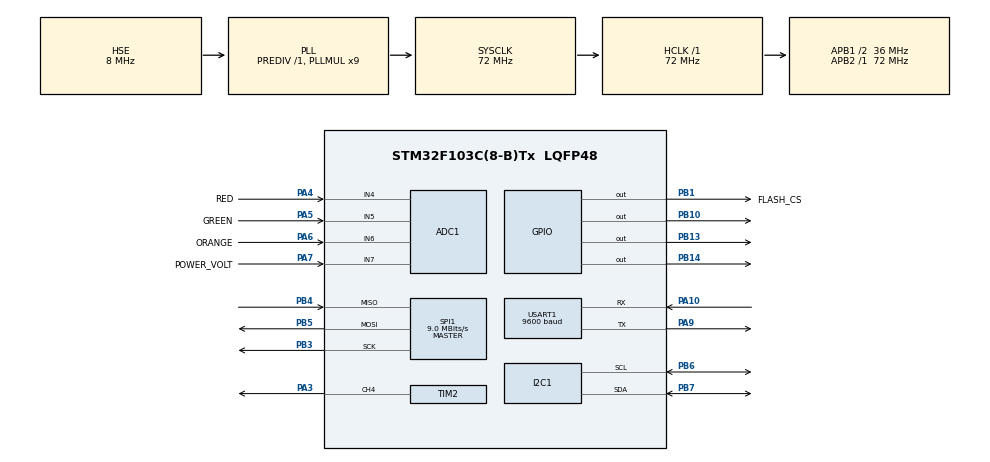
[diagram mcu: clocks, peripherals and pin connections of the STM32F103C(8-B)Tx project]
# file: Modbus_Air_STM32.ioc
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ADC1.Channel-0\#ChannelRegularConversion=ADC_CHANNEL_4
ADC1.Channel-1\#ChannelRegularConversion=ADC_CHANNEL_5
ADC1.Channel-2\#ChannelRegularConversion=ADC_CHANNEL_6
ADC1.Channel-3\#ChannelRegularConversion=ADC_CHANNEL_7
ADC1.Channel-6\#ChannelRegularConversion=ADC_CHANNEL_TEMPSENSOR
ADC1.Channel-7\#ChannelRegularConversion=ADC_CHANNEL_VREFINT
ADC1.ContinuousConvMode=ENABLE
ADC1.DataAlign=ADC_DATAALIGN_RIGHT
ADC1.DiscontinuousConvMode=DISABLE
ADC1.EnableAnalogWatchDog=false
ADC1.EnableRegularConversion=ENABLE
ADC1.ExternalTrigConv=ADC_SOFTWARE_START
ADC1.InjNumberOfConversion=0
ADC1.NbrOfConversion=6
ADC1.NbrOfConversionFlag=1
ADC1.Rank-0\#ChannelRegularConversion=1
ADC1.Rank-1\#ChannelRegularConversion=2
ADC1.Rank-2\#ChannelRegularConversion=3
ADC1.Rank-3\#ChannelRegularConversion=4
ADC1.Rank-6\#ChannelRegularConversion=5
ADC1.Rank-7\#ChannelRegularConversion=6
ADC1.SamplingTime-0\#ChannelRegularConversion=ADC_SAMPLETIME_28CYCLES_5
ADC1.SamplingTime-1\#ChannelRegularConversion=ADC_SAMPLETIME_28CYCLES_5
ADC1.SamplingTime-2\#ChannelRegularConversion=ADC_SAMPLETIME_28CYCLES_5
ADC1.SamplingTime-3\#ChannelRegularConversion=ADC_SAMPLETIME_28CYCLES_5
ADC1.SamplingTime-6\#ChannelRegularConversion=ADC_SAMPLETIME_239CYCLES_5
ADC1.SamplingTime-7\#ChannelRegularConversion=ADC_SAMPLETIME_239CYCLES_5
ADC1.ScanConvMode=ADC_SCAN_ENABLE
ADC1.master=1
Dma.ADC1.0.Direction=DMA_PERIPH_TO_MEMORY
Dma.ADC1.0.Instance=DMA1_Channel1
Dma.ADC1.0.MemDataAlignment=DMA_MDATAALIGN_HALFWORD
Dma.ADC1.0.MemInc=DMA_MINC_ENABLE
Dma.ADC1.0.Mode=DMA_CIRCULAR
Dma.ADC1.0.PeriphDataAlignment=DMA_PDATAALIGN_HALFWORD
Dma.ADC1.0.PeriphInc=DMA_PINC_DISABLE
Dma.ADC1.0.Priority=DMA_PRIORITY_LOW
Dma.Request0=ADC1
IWDG.Prescaler=IWDG_PRESCALER_256
IWDG.Reload=2343
Mcu.Family=STM32F1
Mcu.Name=STM32F103C(8-B)Tx
Mcu.Package=LQFP48
NVIC.ADC1_2_IRQn=true\:1\:0\:true\:false\:true\:true
NVIC.DMA1_Channel1_IRQn=true\:0\:0\:false\:false\:true\:false
NVIC.PriorityGroup=NVIC_PRIORITYGROUP_4
NVIC.SPI1_IRQn=true\:1\:0\:true\:false\:true\:true
NVIC.TIM4_IRQn=true\:0\:0\:false\:false\:true\:true
NVIC.USART1_IRQn=true\:0\:0\:false\:false\:true\:true
PA10.Mode=Asynchronous
PA10.Signal=USART1_RX
PA13.Mode=Serial_Wire
PA13.Signal=SYS_JTMS-SWDIO
PA14.Mode=Serial_Wire
PA14.Signal=SYS_JTCK-SWCLK
PA3.Signal=S_TIM2_CH4
PA4.GPIO_Label=RED
PA4.Signal=ADCx_IN4
PA5.GPIO_Label=GREEN
PA5.Signal=ADCx_IN5
PA6.GPIO_Label=ORANGE
PA6.Signal=ADCx_IN6
PA7.GPIO_Label=POWER_VOLT
PA7.Signal=ADCx_IN7
PA9.Mode=Asynchronous
PA9.Signal=USART1_TX
PB1.GPIO_Label=FLASH_CS
PB1.Signal=GPIO_Output
PB10.GPIO_PuPd=GPIO_PULLUP
PB10.Signal=GPIO_Output
PB13.GPIO_PuPd=GPIO_PULLUP
PB13.Signal=GPIO_Output
PB14.GPIO_PuPd=GPIO_PULLDOWN
PB14.PinState=GPIO_PIN_SET
PB14.Signal=GPIO_Output
PB3.Mode=Full_Duplex_Master
PB3.Signal=SPI1_SCK
PB4.Mode=Full_Duplex_Master
PB4.Signal=SPI1_MISO
PB5.Mode=Full_Duplex_Master
PB5.Signal=SPI1_MOSI
PB6.Mode=I2C
PB6.Signal=I2C1_SCL
PB7.Mode=I2C
PB7.Signal=I2C1_SDA
PD0-OSC_IN.Mode=HSE-External-Oscillator
PD0-OSC_IN.Signal=RCC_OSC_IN
PD1-OSC_OUT.Mode=HSE-External-Oscillator
PD1-OSC_OUT.Signal=RCC_OSC_OUT
ProjectManager.HeapSize=0x200
ProjectManager.StackSize=0x400
ProjectManager.TargetToolchain=MDK-ARM V5
RCC.ADCPresc=RCC_ADCPCLK2_DIV6
RCC.AHBFreq_Value=72000000
RCC.APB1CLKDivider=RCC_HCLK_DIV2
RCC.APB1Freq_Value=36000000
RCC.APB1TimFreq_Value=72000000
RCC.APB2Freq_Value=72000000
RCC.APB2TimFreq_Value=72000000
RCC.EnbaleCSS=true
RCC.HCLKFreq_Value=72000000
RCC.PLLMUL=RCC_PLL_MUL9
RCC.PLLSourceVirtual=RCC_PLLSOURCE_HSE
RCC.SYSCLKFreq_VALUE=72000000
RCC.SYSCLKSource=RCC_SYSCLKSOURCE_PLLCLK
RCC.USBFreq_Value=48000000
RCC.USBPrescaler=RCC_USBCLKSOURCE_PLL_DIV1_5
SH.ADCx_IN4.0=ADC1_IN4,IN4
SH.ADCx_IN5.0=ADC1_IN5,IN5
SH.ADCx_IN6.0=ADC1_IN6,IN6
SH.ADCx_IN7.0=ADC1_IN7,IN7
SH.S_TIM2_CH4.0=TIM2_CH4,PWM Generation4 CH4
SPI1.BaudRatePrescaler=SPI_BAUDRATEPRESCALER_8
SPI1.CalculateBaudRate=9.0 MBits/s
SPI1.Direction=SPI_DIRECTION_2LINES
SPI1.Mode=SPI_MODE_MASTER
SPI1.VirtualType=VM_MASTER
TIM2.Channel-PWM\ Generation4\ CH4=TIM_CHANNEL_4
TIM2.OCPolarity_4=TIM_OCPOLARITY_LOW
TIM2.Period=500
TIM2.Prescaler=72
TIM4.Period=1
TIM4.Prescaler=3599
USART1.BaudRate=9600
USART1.VirtualMode=VM_ASYNC
VP_ADC1_TempSens_Input.Mode=IN-TempSens
VP_ADC1_Vref_Input.Mode=IN-Vrefint
VP_IWDG_VS_IWDG.Mode=IWDG_Activate
VP_TIM4_VS_ClockSourceINT.Mode=Internal
board=custom

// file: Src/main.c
/**
  ******************************************************************************
  * @file           : main.c
  * @brief          : Main program body
  ******************************************************************************
  ** This notice applies to any and all portions of this file
  * that are not between comment pairs USER CODE BEGIN and
  * USER CODE END. Other portions of this file, whether
  * inserted by the user or by software development tools
  * are owned by their respective copyright owners.
  *
  * COPYRIGHT(c) 2019 STMicroelectronics
  *
  * Redistribution and use in source and binary forms, with or without modification,
  * are permitted provided that the following conditions are met:
  *   1. Redistributions of source code must retain the above copyright notice,
  *      this list of conditions and the following disclaimer.
  *   2. Redistributions in binary form must reproduce the above copyright notice,
  *      this list of conditions and the following disclaimer in the documentation
  *      and/or other materials provided with the distribution.
  *   3. Neither the name of STMicroelectronics nor the names of its contributors
  *      may be used to endorse or promote products derived from this software
  *      without specific prior written permission.
  *
  * THIS SOFTWARE IS PROVIDED BY THE COPYRIGHT HOLDERS AND CONTRIBUTORS "AS IS"
  * AND ANY EXPRESS OR IMPLIED WARRANTIES, INCLUDING, BUT NOT LIMITED TO, THE
  * IMPLIED WARRANTIES OF MERCHANTABILITY AND FITNESS FOR A PARTICULAR PURPOSE ARE
  * DISCLAIMED. IN NO EVENT SHALL THE COPYRIGHT HOLDER OR CONTRIBUTORS BE LIABLE
  * FOR ANY DIRECT, INDIRECT, INCIDENTAL, SPECIAL, EXEMPLARY, OR CONSEQUENTIAL
  * DAMAGES (INCLUDING, BUT NOT LIMITED TO, PROCUREMENT OF SUBSTITUTE GOODS OR
  * SERVICES; LOSS OF USE, DATA, OR PROFITS; OR BUSINESS INTERRUPTION) HOWEVER
  * CAUSED AND ON ANY THEORY OF LIABILITY, WHETHER IN CONTRACT, STRICT LIABILITY,
  * OR TORT (INCLUDING NEGLIGENCE OR OTHERWISE) ARISING IN ANY WAY OUT OF THE USE
  * OF THIS SOFTWARE, EVEN IF ADVISED OF THE POSSIBILITY OF SUCH DAMAGE.
  *
  ******************************************************************************
  */
#include "main.h"
#include "stm32f1xx_hal.h"

/* USER CODE BEGIN Includes */
//https://blog.naver.com/eziya76/220970378890
//https://habr.com/en/post/279747/
//https://ctrl-v.biz/ru/blog/stm32f4discovery-modbus-rtu-ascii-mems-lis302dl
//http://we.easyelectronics.ru/Yanichar/portiruem-freemodbus-rtu-na-primere-stm8l.html
//https://github.com/eziya/STM32_HAL_FREEMODBUS_RTU

#include "mb.h"
#include "mbport.h"
/* USER CODE END Includes */

ADC_HandleTypeDef hadc1;
DMA_HandleTypeDef hdma_adc1;

I2C_HandleTypeDef hi2c1;

IWDG_HandleTypeDef hiwdg;

SPI_HandleTypeDef hspi1;

TIM_HandleTypeDef htim2;
TIM_HandleTypeDef htim4;

UART_HandleTypeDef huart1;

/* USER CODE BEGIN PV */
/* Private variables ---------------------------------------------------------*/

#include "mpu6050.h"

#define REG_INPUT_START 1
#define REG_INPUT_NREGS 32

static USHORT usRegInputStart = REG_INPUT_START;
static USHORT usRegInputBuf[REG_INPUT_NREGS];

extern float mpu6050_gf[3];
extern float mpu6050_af[3];
uint16_t ADC_value[6];
/* USER CODE END PV */

void SystemClock_Config(void);
static void MX_GPIO_Init(void);
static void MX_DMA_Init(void);
static void MX_USART1_UART_Init(void);
static void MX_TIM2_Init(void);
static void MX_ADC1_Init(void);
static void MX_SPI1_Init(void);
static void MX_I2C1_Init(void);
static void MX_TIM4_Init(void);
static void MX_IWDG_Init(void);

void HAL_TIM_MspPostInit(TIM_HandleTypeDef *htim);

/* USER CODE BEGIN PFP */
/* Private function prototypes -----------------------------------------------*/
void send(uint8_t *str)
{
	uint8_t buff[(uint8_t)(strlen(str)+2)];
	HAL_UART_Transmit(&huart1, buff, 1, 10);
}
/* USER CODE END PFP */

/* USER CODE BEGIN 0 */
eMBErrorCode
eMBRegInputCB( UCHAR * pucRegBuffer, USHORT usAddress, USHORT usNRegs )
{
    eMBErrorCode    eStatus = MB_ENOERR;
    int             iRegIndex;

    if( ( usAddress >= REG_INPUT_START )
        && ( usAddress + usNRegs <= REG_INPUT_START + REG_INPUT_NREGS ) )
    {
        iRegIndex = ( int )( usAddress - usRegInputStart );
        while( usNRegs > 0 )
        {
            *pucRegBuffer++ =
                ( unsigned char )( usRegInputBuf[iRegIndex] >> 8 );
            *pucRegBuffer++ =
                ( unsigned char )( usRegInputBuf[iRegIndex] & 0xFF );
            iRegIndex++;
            usNRegs--;
        }

				HAL_GPIO_TogglePin(GPIOB, GPIO_PIN_13);
    }
    else
    {
        HAL_GPIO_TogglePin(GPIOB, GPIO_PIN_14);
    }

    return eStatus;
}

eMBErrorCode
eMBRegHoldingCB( UCHAR * pucRegBuffer, USHORT usAddress, USHORT usNRegs,
                 eMBRegisterMode eMode )
{
    return MB_ENOREG;
}

eMBErrorCode
eMBRegCoilsCB( UCHAR * pucRegBuffer, USHORT usAddress, USHORT usNCoils,
               eMBRegisterMode eMode )
{
    return MB_ENOREG;
}

eMBErrorCode
eMBRegDiscreteCB( UCHAR * pucRegBuffer, USHORT usAddress, USHORT usNDiscrete )
{
    return MB_ENOREG;
}

void ADC_to_Modbus(USHORT* msb,USHORT* lsb, uint16_t adc_in_value)
{
	msb[0] = (uint8_t)((adc_in_value&0xff00)>>8);
	lsb[0] = (uint8_t)adc_in_value&0x00ff;
}

void GetTick_to_Modbus(USHORT *a, USHORT *b, USHORT *c, USHORT *d)
{
	a[0] =(uint8_t)((HAL_GetTick()&0xff000000)>>24);
	b[0] =(uint8_t)((HAL_GetTick()&0x00ff0000)>>16);
	c[0] =(uint8_t)((HAL_GetTick()&0x0000ff00)>>8);
	d[0] =(uint8_t)(HAL_GetTick()&0x000000ff);
}

/* USER CODE END 0 */

int main(void)
{

  /* MCU Configuration----------------------------------------------------------*/

  /* Reset of all peripherals, Initializes the Flash interface and the Systick. */
  HAL_Init();

  /* Configure the system clock */
  SystemClock_Config();

  /* Initialize all configured peripherals */
  MX_GPIO_Init();
  MX_DMA_Init();
  MX_USART1_UART_Init();
  MX_TIM2_Init();
  MX_ADC1_Init();
  MX_SPI1_Init();
  MX_I2C1_Init();
  MX_TIM4_Init();
  MX_IWDG_Init();
  /* USER CODE BEGIN 2 */
	mpu6050_init();
  eMBErrorCode eStatus = eMBInit( MB_RTU, 4, 1, 9600, MB_PAR_NONE );
  eStatus = eMBEnable();
	HAL_ADC_Start_DMA(&hadc1,(uint32_t*)ADC_value,6);
	IWDG->KR = 0xAAAA; // Writing 0xAAAA in the Key register prevents watchdog reset
	IWDG->KR = 0xCCCC; // Start the independent watchdog timer
  /* USER CODE END 2 */

  /* Infinite loop */
  /* USER CODE BEGIN WHILE */
  while (1)
  {
//   if(eMBPoll() == MB_ENOERR)
//	 {
//	 usRegInputBuf[7] = 1;
//	 }
	 //usRegInputBuf[0] = HAL_GPIO_ReadPin(RED_GPIO_Port,RED_Pin);
	 //usRegInputBuf[1] = HAL_GPIO_ReadPin(GREEN_GPIO_Port,GREEN_Pin);
	 //usRegInputBuf[2] = HAL_GPIO_ReadPin(ORANGE_GPIO_Port,ORANGE_Pin);

		// adc value
  	ADC_to_Modbus(&usRegInputBuf[0],&usRegInputBuf[1],ADC_value[0]);
		ADC_to_Modbus(&usRegInputBuf[2],&usRegInputBuf[3],ADC_value[1]);
		ADC_to_Modbus(&usRegInputBuf[4],&usRegInputBuf[5],ADC_value[2]);
		ADC_to_Modbus(&usRegInputBuf[6],&usRegInputBuf[7],ADC_value[3]);

		ADC_to_Modbus(&usRegInputBuf[8],&usRegInputBuf[9],ADC_value[4]);
		ADC_to_Modbus(&usRegInputBuf[10],&usRegInputBuf[11],ADC_value[5]);
		// get tick value
		GetTick_to_Modbus(&usRegInputBuf[12],&usRegInputBuf[13],&usRegInputBuf[14],&usRegInputBuf[15]);
		// get acel
	  mpu6050_getacceldata();
		// get gygro
		mpu6050_getgyrodata();

	  eMBPoll();
		IWDG->KR = 0xAAAA;
  /* USER CODE END WHILE */

  }

}

void SystemClock_Config(void)
{

  RCC_OscInitTypeDef RCC_OscInitStruct;
  RCC_ClkInitTypeDef RCC_ClkInitStruct;
  RCC_PeriphCLKInitTypeDef PeriphClkInit;

    /**Initializes the CPU, AHB and APB busses clocks
    */
  RCC_OscInitStruct.OscillatorType = RCC_OSCILLATORTYPE_LSI|RCC_OSCILLATORTYPE_HSE;
  RCC_OscInitStruct.HSEState = RCC_HSE_ON;
  RCC_OscInitStruct.HSEPredivValue = RCC_HSE_PREDIV_DIV1;
  RCC_OscInitStruct.HSIState = RCC_HSI_ON;
  RCC_OscInitStruct.LSIState = RCC_LSI_ON;
  RCC_OscInitStruct.PLL.PLLState = RCC_PLL_ON;
  RCC_OscInitStruct.PLL.PLLSource = RCC_PLLSOURCE_HSE;
  RCC_OscInitStruct.PLL.PLLMUL = RCC_PLL_MUL9;
  if (HAL_RCC_OscConfig(&RCC_OscInitStruct) != HAL_OK)
  {
    _Error_Handler(__FILE__, __LINE__);
  }

    /**Initializes the CPU, AHB and APB busses clocks
    */
  RCC_ClkInitStruct.ClockType = RCC_CLOCKTYPE_HCLK|RCC_CLOCKTYPE_SYSCLK
                              |RCC_CLOCKTYPE_PCLK1|RCC_CLOCKTYPE_PCLK2;
  RCC_ClkInitStruct.SYSCLKSource = RCC_SYSCLKSOURCE_PLLCLK;
  RCC_ClkInitStruct.AHBCLKDivider = RCC_SYSCLK_DIV1;
  RCC_ClkInitStruct.APB1CLKDivider = RCC_HCLK_DIV2;
  RCC_ClkInitStruct.APB2CLKDivider = RCC_HCLK_DIV1;

  if (HAL_RCC_ClockConfig(&RCC_ClkInitStruct, FLASH_LATENCY_2) != HAL_OK)
  {
    _Error_Handler(__FILE__, __LINE__);
  }

  PeriphClkInit.PeriphClockSelection = RCC_PERIPHCLK_ADC;
  PeriphClkInit.AdcClockSelection = RCC_ADCPCLK2_DIV6;
  if (HAL_RCCEx_PeriphCLKConfig(&PeriphClkInit) != HAL_OK)
  {
    _Error_Handler(__FILE__, __LINE__);
  }

    /**Enables the Clock Security System
    */
  HAL_RCC_EnableCSS();

    /**Configure the Systick interrupt time
    */
  HAL_SYSTICK_Config(HAL_RCC_GetHCLKFreq()/1000);

    /**Configure the Systick
    */
  HAL_SYSTICK_CLKSourceConfig(SYSTICK_CLKSOURCE_HCLK);

  /* SysTick_IRQn interrupt configuration */
  HAL_NVIC_SetPriority(SysTick_IRQn, 0, 0);
}

/* ADC1 init function */
static void MX_ADC1_Init(void)
{

  ADC_ChannelConfTypeDef sConfig;

    /**Common config
    */
  hadc1.Instance = ADC1;
  hadc1.Init.ScanConvMode = ADC_SCAN_ENABLE;
  hadc1.Init.ContinuousConvMode = ENABLE;
  hadc1.Init.DiscontinuousConvMode = DISABLE;
  hadc1.Init.ExternalTrigConv = ADC_SOFTWARE_START;
  hadc1.Init.DataAlign = ADC_DATAALIGN_RIGHT;
  hadc1.Init.NbrOfConversion = 6;
  if (HAL_ADC_Init(&hadc1) != HAL_OK)
  {
    _Error_Handler(__FILE__, __LINE__);
  }

    /**Configure Regular Channel
    */
  sConfig.Channel = ADC_CHANNEL_4;
  sConfig.Rank = ADC_REGULAR_RANK_1;
  sConfig.SamplingTime = ADC_SAMPLETIME_28CYCLES_5;
  if (HAL_ADC_ConfigChannel(&hadc1, &sConfig) != HAL_OK)
  {
    _Error_Handler(__FILE__, __LINE__);
  }

    /**Configure Regular Channel
    */
  sConfig.Channel = ADC_CHANNEL_5;
  sConfig.Rank = ADC_REGULAR_RANK_2;
  if (HAL_ADC_ConfigChannel(&hadc1, &sConfig) != HAL_OK)
  {
    _Error_Handler(__FILE__, __LINE__);
  }

    /**Configure Regular Channel
    */
  sConfig.Channel = ADC_CHANNEL_6;
  sConfig.Rank = ADC_REGULAR_RANK_3;
  if (HAL_ADC_ConfigChannel(&hadc1, &sConfig) != HAL_OK)
  {
    _Error_Handler(__FILE__, __LINE__);
  }

    /**Configure Regular Channel
    */
  sConfig.Channel = ADC_CHANNEL_7;
  sConfig.Rank = ADC_REGULAR_RANK_4;
  if (HAL_ADC_ConfigChannel(&hadc1, &sConfig) != HAL_OK)
  {
    _Error_Handler(__FILE__, __LINE__);
  }

    /**Configure Regular Channel
    */
  sConfig.Channel = ADC_CHANNEL_TEMPSENSOR;
  sConfig.Rank = ADC_REGULAR_RANK_5;
  sConfig.SamplingTime = ADC_SAMPLETIME_239CYCLES_5;
  if (HAL_ADC_ConfigChannel(&hadc1, &sConfig) != HAL_OK)
  {
    _Error_Handler(__FILE__, __LINE__);
  }

    /**Configure Regular Channel
    */
  sConfig.Channel = ADC_CHANNEL_VREFINT;
  sConfig.Rank = ADC_REGULAR_RANK_6;
  if (HAL_ADC_ConfigChannel(&hadc1, &sConfig) != HAL_OK)
  {
    _Error_Handler(__FILE__, __LINE__);
  }

}

/* I2C1 init function */
static void MX_I2C1_Init(void)
{

  hi2c1.Instance = I2C1;
  hi2c1.Init.ClockSpeed = 100000;
  hi2c1.Init.DutyCycle = I2C_DUTYCYCLE_2;
  hi2c1.Init.OwnAddress1 = 0;
  hi2c1.Init.AddressingMode = I2C_ADDRESSINGMODE_7BIT;
  hi2c1.Init.DualAddressMode = I2C_DUALADDRESS_DISABLE;
  hi2c1.Init.OwnAddress2 = 0;
  hi2c1.Init.GeneralCallMode = I2C_GENERALCALL_DISABLE;
  hi2c1.Init.NoStretchMode = I2C_NOSTRETCH_DISABLE;
  if (HAL_I2C_Init(&hi2c1) != HAL_OK)
  {
    _Error_Handler(__FILE__, __LINE__);
  }

}

/* IWDG init function */
static void MX_IWDG_Init(void)
{

  hiwdg.Instance = IWDG;
  hiwdg.Init.Prescaler = IWDG_PRESCALER_256;
  hiwdg.Init.Reload = 2343;
  if (HAL_IWDG_Init(&hiwdg) != HAL_OK)
  {
    _Error_Handler(__FILE__, __LINE__);
  }

}

/* SPI1 init function */
static void MX_SPI1_Init(void)
{

  /* SPI1 parameter configuration*/
  hspi1.Instance = SPI1;
  hspi1.Init.Mode = SPI_MODE_MASTER;
  hspi1.Init.Direction = SPI_DIRECTION_2LINES;
  hspi1.Init.DataSize = SPI_DATASIZE_8BIT;
  hspi1.Init.CLKPolarity = SPI_POLARITY_LOW;
  hspi1.Init.CLKPhase = SPI_PHASE_1EDGE;
  hspi1.Init.NSS = SPI_NSS_SOFT;
  hspi1.Init.BaudRatePrescaler = SPI_BAUDRATEPRESCALER_8;
  hspi1.Init.FirstBit = SPI_FIRSTBIT_MSB;
  hspi1.Init.TIMode = SPI_TIMODE_DISABLE;
  hspi1.Init.CRCCalculation = SPI_CRCCALCULATION_DISABLE;
  hspi1.Init.CRCPolynomial = 10;
  if (HAL_SPI_Init(&hspi1) != HAL_OK)
  {
    _Error_Handler(__FILE__, __LINE__);
  }

}

/* TIM2 init function */
static void MX_TIM2_Init(void)
{

  TIM_MasterConfigTypeDef sMasterConfig;
  TIM_OC_InitTypeDef sConfigOC;

  htim2.Instance = TIM2;
  htim2.Init.Prescaler = 72;
  htim2.Init.CounterMode = TIM_COUNTERMODE_UP;
  htim2.Init.Period = 500;
  htim2.Init.ClockDivision = TIM_CLOCKDIVISION_DIV1;
  htim2.Init.AutoReloadPreload = TIM_AUTORELOAD_PRELOAD_DISABLE;
  if (HAL_TIM_PWM_Init(&htim2) != HAL_OK)
  {
    _Error_Handler(__FILE__, __LINE__);
  }

  sMasterConfig.MasterOutputTrigger = TIM_TRGO_RESET;
  sMasterConfig.MasterSlaveMode = TIM_MASTERSLAVEMODE_DISABLE;
  if (HAL_TIMEx_MasterConfigSynchronization(&htim2, &sMasterConfig) != HAL_OK)
  {
    _Error_Handler(__FILE__, __LINE__);
  }

  sConfigOC.OCMode = TIM_OCMODE_PWM1;
  sConfigOC.Pulse = 0;
  sConfigOC.OCPolarity = TIM_OCPOLARITY_LOW;
  sConfigOC.OCFastMode = TIM_OCFAST_DISABLE;
  if (HAL_TIM_PWM_ConfigChannel(&htim2, &sConfigOC, TIM_CHANNEL_4) != HAL_OK)
  {
    _Error_Handler(__FILE__, __LINE__);
  }

  HAL_TIM_MspPostInit(&htim2);

}

/* TIM4 init function */
static void MX_TIM4_Init(void)
{

  TIM_ClockConfigTypeDef sClockSourceConfig;
  TIM_MasterConfigTypeDef sMasterConfig;

  htim4.Instance = TIM4;
  htim4.Init.Prescaler = 3599;
  htim4.Init.CounterMode = TIM_COUNTERMODE_UP;
  htim4.Init.Period = 1;
  htim4.Init.ClockDivision = TIM_CLOCKDIVISION_DIV1;
  htim4.Init.AutoReloadPreload = TIM_AUTORELOAD_PRELOAD_DISABLE;
  if (HAL_TIM_Base_Init(&htim4) != HAL_OK)
  {
    _Error_Handler(__FILE__, __LINE__);
  }

  sClockSourceConfig.ClockSource = TIM_CLOCKSOURCE_INTERNAL;
  if (HAL_TIM_ConfigClockSource(&htim4, &sClockSourceConfig) != HAL_OK)
  {
    _Error_Handler(__FILE__, __LINE__);
  }

  sMasterConfig.MasterOutputTrigger = TIM_TRGO_RESET;
  sMasterConfig.MasterSlaveMode = TIM_MASTERSLAVEMODE_DISABLE;
  if (HAL_TIMEx_MasterConfigSynchronization(&htim4, &sMasterConfig) != HAL_OK)
  {
    _Error_Handler(__FILE__, __LINE__);
  }

}

/* USART1 init function */
static void MX_USART1_UART_Init(void)
{

  huart1.Instance = USART1;
  huart1.Init.BaudRate = 9600;
  huart1.Init.WordLength = UART_WORDLENGTH_8B;
  huart1.Init.StopBits = UART_STOPBITS_1;
  huart1.Init.Parity = UART_PARITY_NONE;
  huart1.Init.Mode = UART_MODE_TX_RX;
  huart1.Init.HwFlowCtl = UART_HWCONTROL_NONE;
  huart1.Init.OverSampling = UART_OVERSAMPLING_16;
  if (HAL_UART_Init(&huart1) != HAL_OK)
  {
    _Error_Handler(__FILE__, __LINE__);
  }

}

static void MX_DMA_Init(void)
{
  /* DMA controller clock enable */
  __HAL_RCC_DMA1_CLK_ENABLE();

  /* DMA interrupt init */
  /* DMA1_Channel1_IRQn interrupt configuration */
  HAL_NVIC_SetPriority(DMA1_Channel1_IRQn, 0, 0);
  HAL_NVIC_EnableIRQ(DMA1_Channel1_IRQn);

}

/** Configure pins as
        * Analog
        * Input
        * Output
        * EVENT_OUT
        * EXTI
*/
static void MX_GPIO_Init(void)
{

  GPIO_InitTypeDef GPIO_InitStruct;

  /* GPIO Ports Clock Enable */
  __HAL_RCC_GPIOD_CLK_ENABLE();
  __HAL_RCC_GPIOA_CLK_ENABLE();
  __HAL_RCC_GPIOB_CLK_ENABLE();

  /*Configure GPIO pin Output Level */
  HAL_GPIO_WritePin(GPIOB, FLASH_CS_Pin|GPIO_PIN_10|GPIO_PIN_13, GPIO_PIN_RESET);

  /*Configure GPIO pin Output Level */
  HAL_GPIO_WritePin(GPIOB, GPIO_PIN_14, GPIO_PIN_SET);

  /*Configure GPIO pin : FLASH_CS_Pin */
  GPIO_InitStruct.Pin = FLASH_CS_Pin;
  GPIO_InitStruct.Mode = GPIO_MODE_OUTPUT_PP;
  GPIO_InitStruct.Pull = GPIO_NOPULL;
  GPIO_InitStruct.Speed = GPIO_SPEED_FREQ_LOW;
  HAL_GPIO_Init(FLASH_CS_GPIO_Port, &GPIO_InitStruct);

  /*Configure GPIO pins : PB10 PB13 */
  GPIO_InitStruct.Pin = GPIO_PIN_10|GPIO_PIN_13;
  GPIO_InitStruct.Mode = GPIO_MODE_OUTPUT_PP;
  GPIO_InitStruct.Pull = GPIO_PULLUP;
  GPIO_InitStruct.Speed = GPIO_SPEED_FREQ_LOW;
  HAL_GPIO_Init(GPIOB, &GPIO_InitStruct);

  /*Configure GPIO pin : PB14 */
  GPIO_InitStruct.Pin = GPIO_PIN_14;
  GPIO_InitStruct.Mode = GPIO_MODE_OUTPUT_PP;
  GPIO_InitStruct.Pull = GPIO_PULLDOWN;
  GPIO_InitStruct.Speed = GPIO_SPEED_FREQ_LOW;
  HAL_GPIO_Init(GPIOB, &GPIO_InitStruct);

}

void _Error_Handler(char *file, int line)
{
  while(1)
  {
  }
}

/************************ (C) COPYRIGHT STMicroelectronics *****END OF FILE****/
